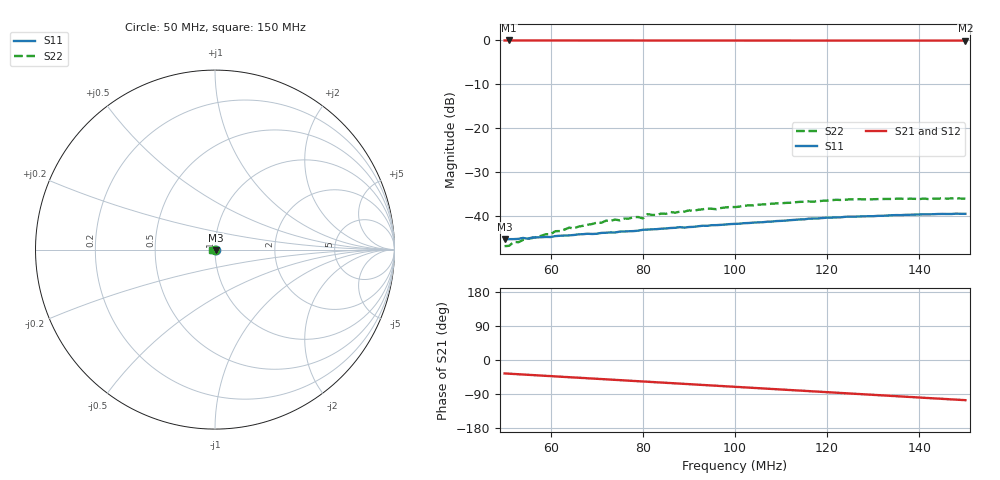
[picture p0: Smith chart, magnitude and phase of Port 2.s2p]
! RsaToolbox (C) 2014 Rohde & Schwarz America
! Number of points: 101
! Number of ports: 2
! Balanced ports?: No
# Hz S RI R 50
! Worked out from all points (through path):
!   101 points, 50 MHz to 150 MHz, reference 50 ohm
!   highest |S21| = -0.05 dB at 51 MHz (marker M1); lowest = -0.1 dB at 150 MHz (marker M2)
!   group delay of S21, straight-line fit = 1.96 ns
!   lowest |S11| = -45.3 dB at 50 MHz (marker M3), VSWR 1.01, Z = 50.4 - j0.362 ohm
!   |S11| at or under -10 dB: start of sweep to end of sweep
!   |S22| runs from -46.9 to -36.0 dB; largest |S21 - S12| = 0
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5e7  0.00407 -0.00359  0.8096 -0.5769  0.8096 -0.5769  0.000437 -0.00451
5.1e7  0.00399 -0.0037  0.8025 -0.5869  0.8025 -0.5869  0.000215 -0.00457
5.2e7  0.00394 -0.00376  0.7951 -0.5967  0.7951 -0.5967  9.72e-05 -0.00507
5.3e7  0.00386 -0.0039  0.7876 -0.6065  0.7876 -0.6065  0.000296 -0.00502
5.9e7  0.00341 -0.00465  0.7403 -0.6628  0.7403 -0.6628  -0.000285 -0.00619
6e7  0.0033 -0.00471  0.732 -0.6719  0.732 -0.6719  -0.000343 -0.00619
6.1e7  0.00329 -0.00489  0.7237 -0.6808  0.7237 -0.6808  -0.000455 -0.00669
6.4e7  0.00298 -0.00522  0.6979 -0.707  0.6979 -0.707  -0.000468 -0.00735
6.5e7  0.00288 -0.00534  0.6891 -0.7155  0.6891 -0.7155  -0.000883 -0.00714
6.7e7  0.00271 -0.00558  0.6712 -0.7322  0.6712 -0.7322  -0.00128 -0.00762
7.2e7  0.00217 -0.00607  0.6247 -0.7719  0.6247 -0.7719  -0.00235 -0.00851
7.5e7  0.00181 -0.00638  0.5956 -0.7944  0.5956 -0.7944  -0.00258 -0.00852
7.8e7  0.00136 -0.00658  0.5658 -0.8157  0.5658 -0.8157  -0.00334 -0.00909
8e7  0.00114 -0.00686  0.5455 -0.8293  0.5455 -0.8293  -0.00316 -0.00882
8.1e7  0.000972 -0.00692  0.5352 -0.836  0.5352 -0.836  -0.00414 -0.00963
8.3e7  0.0007 -0.00704  0.5144 -0.8488  0.5144 -0.8488  -0.00438 -0.0093
8.4e7  0.000615 -0.00713  0.5039 -0.855  0.5039 -0.855  -0.00463 -0.00959
1e8  -0.00208 -0.00786  0.3266 -0.9365  0.3266 -0.9365  -0.00818 -0.00959
1.17e8  -0.00522 -0.00774  0.1246 -0.9835  0.1246 -0.9835  -0.0124 -0.00765
1.25e8  -0.00665 -0.00722  0.0271 -0.9907  0.0271 -0.9907  -0.0141 -0.00626
1.34e8  -0.00797 -0.00635  -0.0824 -0.9875  -0.0824 -0.9875  -0.0149 -0.00454
1.5e8  -0.00977 -0.00404  -0.2736 -0.9518  -0.2736 -0.9518  -0.0157 -0.00109
